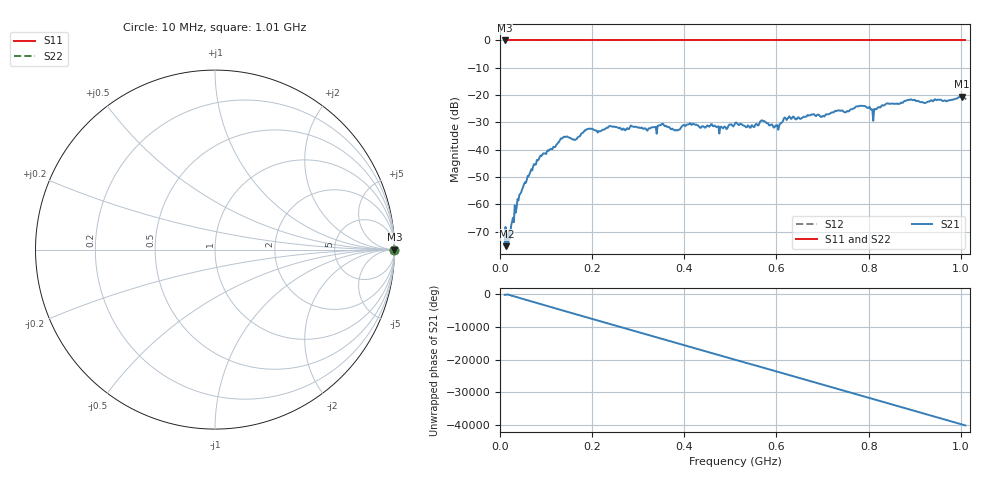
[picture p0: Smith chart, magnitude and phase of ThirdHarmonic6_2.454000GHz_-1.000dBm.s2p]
! 8/17/2025 4:24:24 AM
! C:\ANRITSUVNA\TEMP\TEMP.S2P
! CHANNEL.1
! TR.MEASUREMENT
! RAW.DATA
! RF.CORRECTION.OFF
! AVERAGING.OFF
! IF.BANDWIDTH: 5KHZ
! SWEEPTYPE:  FREQ.SWEEP(Linear)
! Reference Plane Port Info
! PORT:  PORT1  PORT2
! DISTANCE:  0  m  0  m
! TIME:  0  s  0  s
! PHASE.OFFSET:  0  deg.  0  deg.
! LOSS:  0  dB  0  dB
! REF.LOSS:  0  dB  0  dB
! REF.FREQ:  0  Hz  0  Hz
! Power Info
! POWER:  -20  dBm  -20  dBm
! EFF.POWER:  -20  dBm  -20  dBm
! SOURCE.ATTEN:  0  dB  0  dB
! TEST.ATTEN:  0  dB  0  dB
# GHZ S RI R 50.0
! FREQ.GHZ  S11RE  S11IM  S21RE  S21IM  S12RE  S12IM  S22RE  S22IM
!; PortSelection: Port_12
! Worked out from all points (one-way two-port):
!   501 points, 10 MHz to 1.01 GHz, reference 50 ohm
!   highest |S21| = -20.59 dB at 1.002 GHz (marker M1); lowest = -75.4 dB at 14 MHz (marker M2)
!   lowest |S11| = 0.0 dB at 10 MHz (marker M3)
!   |S11| at or under -10 dB: nowhere
!   |S22| runs from 0.0 to 0.0 dB; largest |S21 - S12| = 1.1
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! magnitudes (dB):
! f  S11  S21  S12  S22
! 10 MHz  0.0  -75.0  0.0  0.0
! 14 MHz  0.0  -75.4  0.0  0.0
! 18 MHz  0.0  -74.4  0.0  0.0
! 46 MHz  0.0  -55.6  0.0  0.0
! 84 MHz  0.0  -43.6  0.0  0.0
! 136 MHz  0.0  -35.7  0.0  0.0
! 162 MHz  0.0  -36.5  0.0  0.0
! 178 MHz  0.0  -34.0  0.0  0.0
! 240 MHz  0.0  -31.4  0.0  0.0
! 344 MHz  0.0  -31.2  0.0  0.0
! 480 MHz  0.0  -31.6  0.0  0.0
! 510 MHz  0.0  -30.4  0.0  0.0
! 548 MHz  0.0  -31.3  0.0  0.0
! 570 MHz  0.0  -29.4  0.0  0.0
! 600 MHz  0.0  -31.3  0.0  0.0
! 620 MHz  0.0  -28.5  0.0  0.0
! 678 MHz  0.0  -27.2  0.0  0.0
! 784 MHz  0.0  -24.0  0.0  0.0
! 812 MHz  0.0  -25.1  0.0  0.0
! 844 MHz  0.0  -23.2  0.0  0.0
! 1.002 GHz  0.0  -20.6  0.0  0.0
! 1.01 GHz  0.0  -21.4  0.0  0.0
